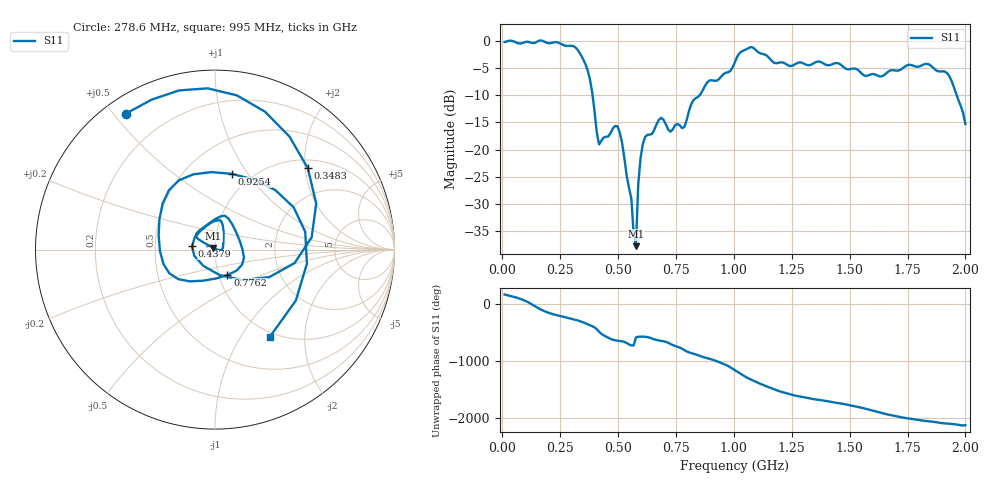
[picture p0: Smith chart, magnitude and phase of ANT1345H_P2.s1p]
!Created with skrf (http://scikit-rf.org).
# Hz S RI R 50.0
!freq ReS11 ImS11
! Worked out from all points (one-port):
!   201 points, 10 MHz to 2 GHz, reference 50 ohm
!   lowest |S11| = -37.9 dB at 577.1 MHz (marker M1), VSWR 1.03, Z = 49.1 + j0.92 ohm
!   |S11| at or under -10 dB: 389.8 MHz to 851.4 MHz (461.6 MHz wide, 74.4 % of centre); 1.963 GHz to end of sweep
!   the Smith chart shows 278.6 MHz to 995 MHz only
!   S11 on the Smith chart (normalised r, x): 278.6 MHz: 0.06, +0.54; 348.3 MHz: 1.20, +2.07; 437.9 MHz: 0.77, +0.03; 776.1 MHz: 1.10, -0.32; 925.4 MHz: 0.81, +0.84; 995 MHz: 0.92, -1.35
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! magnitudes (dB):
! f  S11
! 10 MHz  -0.1
! 258.8 MHz  -0.6
! 278.6 MHz  -0.9
! 348.3 MHz  -3.3
! 378.1 MHz  -6.9
! 417.9 MHz  -19.1
! 437.9 MHz  -17.8
! 507.5 MHz  -16.9
! 557.2 MHz  -29.0
! 567.2 MHz  -35.5
! 577.1 MHz  -37.9
! 587.1 MHz  -26.4
! 597 MHz  -21.6
! 617 MHz  -17.7
! 686.6 MHz  -14.1
! 726.4 MHz  -16.7
! 756.2 MHz  -15.3
! 776.1 MHz  -16.0
! 825.9 MHz  -10.9
! 925.4 MHz  -7.3
! 995 MHz  -4.8
! 1.005 GHz  -3.8
! 1.075 GHz  -1.1
! 1.254 GHz  -4.5
! 1.502 GHz  -5.2
! 1.751 GHz  -4.4
! 1.92 GHz  -5.9
! 2 GHz  -15.3
